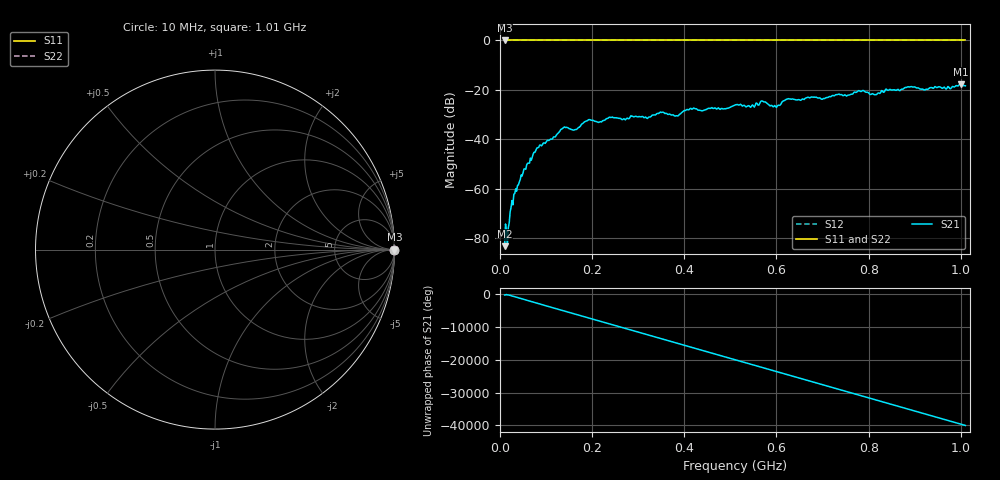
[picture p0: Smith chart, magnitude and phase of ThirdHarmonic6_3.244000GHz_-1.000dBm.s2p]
! 8/17/2025 9:58:03 AM
! C:\ANRITSUVNA\TEMP\TEMP.S2P
! CHANNEL.1
! TR.MEASUREMENT
! RAW.DATA
! RF.CORRECTION.OFF
! AVERAGING.OFF
! IF.BANDWIDTH: 5KHZ
! SWEEPTYPE:  FREQ.SWEEP(Linear)
! Reference Plane Port Info
! PORT:  PORT1  PORT2
! DISTANCE:  0  m  0  m
! TIME:  0  s  0  s
! PHASE.OFFSET:  0  deg.  0  deg.
! LOSS:  0  dB  0  dB
! REF.LOSS:  0  dB  0  dB
! REF.FREQ:  0  Hz  0  Hz
! Power Info
! POWER:  -20  dBm  -20  dBm
! EFF.POWER:  -20  dBm  -20  dBm
! SOURCE.ATTEN:  0  dB  0  dB
! TEST.ATTEN:  0  dB  0  dB
# GHZ S RI R 50.0
! FREQ.GHZ  S11RE  S11IM  S21RE  S21IM  S12RE  S12IM  S22RE  S22IM
!; PortSelection: Port_12
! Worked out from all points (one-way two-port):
!   501 points, 10 MHz to 1.01 GHz, reference 50 ohm
!   highest |S21| = -17.66 dB at 1 GHz (marker M1); lowest = -83.2 dB at 10 MHz (marker M2)
!   lowest |S11| = 0.0 dB at 10 MHz (marker M3)
!   |S11| at or under -10 dB: nowhere
!   |S22| runs from 0.0 to 0.0 dB; largest |S21 - S12| = 1.1
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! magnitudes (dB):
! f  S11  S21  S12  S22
! 10 MHz  0.0  -83.2  0.0  0.0
! 18 MHz  0.0  -75.8  0.0  0.0
! 26 MHz  0.0  -64.7  0.0  0.0
! 34 MHz  0.0  -60.0  0.0  0.0
! 50 MHz  0.0  -53.5  0.0  0.0
! 76 MHz  0.0  -45.2  0.0  0.0
! 136 MHz  0.0  -35.5  0.0  0.0
! 162 MHz  0.0  -36.1  0.0  0.0
! 178 MHz  0.0  -33.7  0.0  0.0
! 344 MHz  0.0  -29.5  0.0  0.0
! 382 MHz  0.0  -30.4  0.0  0.0
! 416 MHz  0.0  -27.8  0.0  0.0
! 510 MHz  0.0  -26.1  0.0  0.0
! 548 MHz  0.0  -26.0  0.0  0.0
! 570 MHz  0.0  -24.5  0.0  0.0
! 596 MHz  0.0  -26.3  0.0  0.0
! 624 MHz  0.0  -23.6  0.0  0.0
! 678 MHz  0.0  -22.9  0.0  0.0
! 814 MHz  0.0  -21.9  0.0  0.0
! 844 MHz  0.0  -20.0  0.0  0.0
! 1 GHz  0.0  -17.7  0.0  0.0
! 1.01 GHz  0.0  -18.3  0.0  0.0
